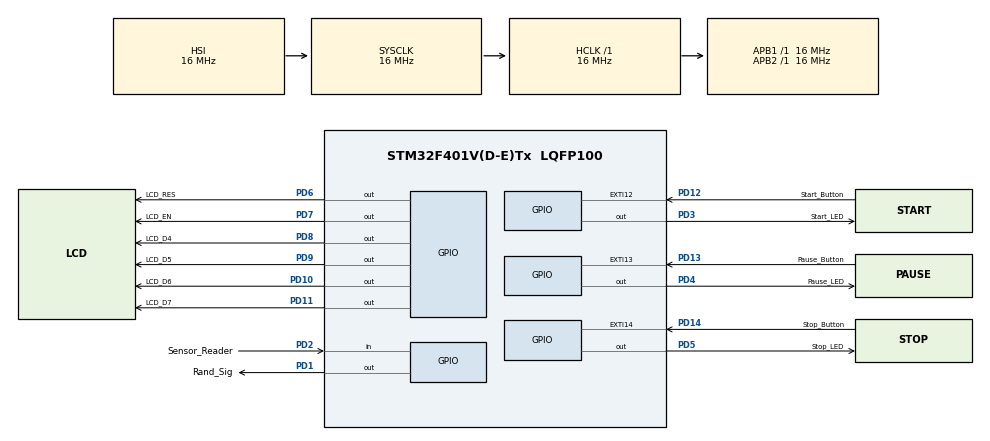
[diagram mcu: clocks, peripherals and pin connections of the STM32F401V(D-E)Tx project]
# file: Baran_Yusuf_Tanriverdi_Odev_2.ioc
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Mcu.Family=STM32F4
Mcu.Name=STM32F401V(D-E)Tx
Mcu.Package=LQFP100
NVIC.EXTI15_10_IRQn=true\:1\:0\:true\:false\:true\:true\:true
NVIC.PriorityGroup=NVIC_PRIORITYGROUP_4
NVIC.TIM4_IRQn=true\:0\:0\:false\:false\:true\:true\:true
PD1.GPIO_Label=Rand_Sig
PD1.Signal=GPIO_Output
PD10.GPIO_Label=LCD_D6
PD10.Signal=GPIO_Output
PD11.GPIO_Label=LCD_D7
PD11.Signal=GPIO_Output
PD12.GPIO_Label=Start_Button
PD12.Signal=GPXTI12
PD13.GPIO_Label=Pause_Button
PD13.Signal=GPXTI13
PD14.GPIO_Label=Stop_Button
PD14.Signal=GPXTI14
PD2.GPIO_Label=Sensor_Reader
PD2.Signal=GPIO_Input
PD3.GPIO_Label=Start_LED
PD3.Signal=GPIO_Output
PD4.GPIO_Label=Pause_LED
PD4.Signal=GPIO_Output
PD5.GPIO_Label=Stop_LED
PD5.Signal=GPIO_Output
PD6.GPIO_Label=LCD_RES
PD6.Signal=GPIO_Output
PD7.GPIO_Label=LCD_EN
PD7.Signal=GPIO_Output
PD8.GPIO_Label=LCD_D4
PD8.Signal=GPIO_Output
PD9.GPIO_Label=LCD_D5
PD9.Signal=GPIO_Output
ProjectManager.HeapSize=0x200
ProjectManager.StackSize=0x400
ProjectManager.TargetToolchain=STM32CubeIDE
RCC.AHBFreq_Value=16000000
RCC.APB1Freq_Value=16000000
RCC.APB2Freq_Value=16000000
RCC.CortexFreq_Value=16000000
RCC.HSE_VALUE=25000000
RCC.HSI_VALUE=16000000
RCC.LSE_VALUE=32768
RCC.SYSCLKFreq_VALUE=16000000
RCC.VCOOutputFreq_Value=192000000
TIM4.Period=100-1
TIM4.Prescaler=16000-1
VP_TIM4_VS_ClockSourceINT.Mode=Internal
board=custom

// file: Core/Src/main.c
/* USER CODE BEGIN Header */
/**
  ******************************************************************************
  * @file           : main.c
  * @brief          : Main program body
  ******************************************************************************
  * @attention
  *
  * <h2><center>&copy; Copyright (c) 2021 STMicroelectronics.
  * All rights reserved.</center></h2>
  *
  * This software component is licensed by ST under BSD 3-Clause license,
  * the "License"; You may not use this file except in compliance with the
  * License. You may obtain a copy of the License at:
  *                        opensource.org/licenses/BSD-3-Clause
  *
  ******************************************************************************
  */
/* USER CODE END Header */
#include "main.h"

/* USER CODE BEGIN Includes */
#include "LCD.h"
#include "stdlib.h"
#include "time.h"
#include <stdio.h>
#include <string.h>
/* USER CODE END Includes */

TIM_HandleTypeDef htim4;

/* USER CODE BEGIN PV */
char mesaj[16] = " "; //ilk satirdaki mesaj
char mesaj_2[16] = " "; //ikinci satirdaki mesaj
int selection = 0; //interrup secim sayaci
int decade=0; //10'luk sayicinin tutuldugu kisim
int counter_human=0;	//sayici
int temp_counter=0; //gecici sayicinin kaydedildigi yer
int temp_decade=0;	//gecici 10'luk sayicinin kaydedildigi yer
int temp=0;			//toplam sayi
int ms_bolum = 0; // ms_bolum = 1/milisecond => asagida acikladim
/* USER CODE END PV */

void SystemClock_Config(void);
static void MX_GPIO_Init(void);
static void MX_TIM4_Init(void);

/* USER CODE BEGIN 0 */
void LED_Toggle(void)
{
	/*
	 * Bu fonksiyon timer-2 counter 100'e (ARR) ulastiginda gittigi TIM2 interruptinin
	 * icindeki fonksiyondur.
	 * 2 amac icin calisir;
	 * ilk amaci; kesmeden basilan buton ogrenildiginde ona uygun bir sekilde led'leri toggle eder
	 * ikinci olarak da delay icin gerekli olan degiskeni 100ms'de bir arttirir
	 */
	if(selection == 1)
	{
		HAL_GPIO_WritePin(Pause_LED_GPIO_Port, Pause_LED_Pin, GPIO_PIN_RESET);
		HAL_GPIO_WritePin(Stop_LED_GPIO_Port, Stop_LED_Pin, GPIO_PIN_RESET);
		HAL_GPIO_TogglePin(Start_LED_GPIO_Port, Start_LED_Pin);
	}
	if(selection == 2)
	{
		HAL_GPIO_WritePin(Start_LED_GPIO_Port, Start_LED_Pin, GPIO_PIN_RESET);
		HAL_GPIO_WritePin(Stop_LED_GPIO_Port, Stop_LED_Pin, GPIO_PIN_RESET);
		HAL_GPIO_TogglePin(Pause_LED_GPIO_Port, Pause_LED_Pin);
	}
	if(selection == 3)
	{
		HAL_GPIO_WritePin(Pause_LED_GPIO_Port, Pause_LED_Pin, GPIO_PIN_RESET);
		HAL_GPIO_WritePin(Start_LED_GPIO_Port, Start_LED_Pin, GPIO_PIN_RESET);
		HAL_GPIO_TogglePin(Stop_LED_GPIO_Port, Stop_LED_Pin);
	}
	ms_bolum++;
}
void delay_ms(int x)
{
	/*100'le carpmamin nedeni; her 100ms de a bir arttigi icin
	 * ms_bolum = 1/(100 milisecond) diyebiliriz dolayisiyla 100*ms_bolum = 1 milisaniye olur
	 */
	while(100*ms_bolum < x)
	{
	}
	ms_bolum= 0;
}
void Random_Toggle(void)
{
	int x=100+(rand()%401); //100-500 ms arasi gecikme icin uretilen degisken
	HAL_GPIO_WritePin(Rand_Sig_GPIO_Port, Rand_Sig_Pin,GPIO_PIN_SET);
	delay_ms(x);
	HAL_GPIO_WritePin(Rand_Sig_GPIO_Port, Rand_Sig_Pin,GPIO_PIN_RESET);
	x=100+(rand()%401);
	delay_ms(x);
}
void HAL_GPIO_EXTI_Callback(uint16_t GPIO_Pin)
{
	/*
	 * Burada butonlardan hangisi basildiysa sistem ona göre bir selection degeri atar
	 * ve lcd temizlemelerini saglar
	 */
	if(GPIO_Pin==Start_Button_Pin)
	{
		selection=1;
		temp=0;
		lcd_clear();
		delay_ms(20);
	}
	else if(GPIO_Pin==Pause_Button_Pin)
	{
		selection=2;
		lcd_clear();
		delay_ms(20);
	}
	else if(GPIO_Pin==Stop_Button_Pin)
	{
		selection=3;
		counter_human=0;
		decade=0;
		lcd_clear();
		delay_ms(20);
	}
}
/* USER CODE END 0 */

int main(void)
{

  /* MCU Configuration--------------------------------------------------------*/

  /* Reset of all peripherals, Initializes the Flash interface and the Systick. */
  HAL_Init();

  /* Configure the system clock */
  SystemClock_Config();

  /* Initialize all configured peripherals */
  MX_GPIO_Init();
  MX_TIM4_Init();
  /* USER CODE BEGIN 2 */
  lcd_init(_LCD_4BIT, _LCD_FONT_5x8, _LCD_2LINE); //LCD baslangic ayarlari
  HAL_TIM_Base_Start_IT(&htim4); //TIM2 interrupt sayaci baslatma
  delay_ms(200);
  lcd_clear();
  lcd_print(1, 1, "Baran Tanriverdi");
  lcd_print(2, 1, "Turnike Uygulama");
  delay_ms(500);
  lcd_clear();
  lcd_print(1, 1, "Baslata Basiniz");
  delay_ms(100);
  /* USER CODE END 2 */

  /* Infinite loop */
  /* USER CODE BEGIN WHILE */
  while (1)
  {
	  /*
	   * Burada EXTI kesmesinden elde edilen selection degerleri istenilen durumlar icin kullanilir
	   * selection = 1 ise, sistem sensor'u okuyarak sensorun SET ve RESET degerlerine gore sayiciyi arttirir ve 10'luk sayici ve normal sayiciyi yazdirir.
	   * selection = 2 ise, sistem bir okuma yapmaz sadece halihazirda olan degerleri yazdirir.
	   * selection = 3 ise, sistem toplam sayiyi yazdirir
	   */
	  if(selection ==1)
	  	{
	  		Random_Toggle();
	  		if(HAL_GPIO_ReadPin(Sensor_Reader_GPIO_Port, Sensor_Reader_Pin)!= GPIO_PIN_SET)
	  		{
	  			counter_human++;
	  			if(counter_human >= 5){
	  				decade++;
	  				counter_human=0;
	  			}
	  		}
	  		sprintf(mesaj, "Yolcu Sayisi: %d", decade);
	  		lcd_print(1, 1, mesaj);
	  		sprintf(mesaj_2, "Counter:%d", counter_human);
	  		temp_counter=counter_human;
	  		temp_decade= decade;
	  		temp= 5*temp_decade + temp_counter;
	  		lcd_print(2, 1, mesaj_2);
	  		delay_ms(100);
	  	}
	  	else if(selection ==2)
	  	{
	  		sprintf(mesaj, "Yolcu Sayisi: %d", decade);
	  		lcd_print(1, 1, mesaj);
	  		sprintf(mesaj_2, "Counter:%d", counter_human);
	  		lcd_print(2, 1, mesaj_2);
	  		delay_ms(100);
	  	}
	  	else if(selection ==3)
	  	{
	  		sprintf(mesaj, "Yolcu Sayisi:%d", temp);
	  		lcd_print(1, 1, mesaj);
	  		delay_ms(100);
	  	}
    /* USER CODE END WHILE */

  }
}

void SystemClock_Config(void)
{
  RCC_OscInitTypeDef RCC_OscInitStruct = {0};
  RCC_ClkInitTypeDef RCC_ClkInitStruct = {0};

  /** Configure the main internal regulator output voltage
  */
  __HAL_RCC_PWR_CLK_ENABLE();
  __HAL_PWR_VOLTAGESCALING_CONFIG(PWR_REGULATOR_VOLTAGE_SCALE2);
  /** Initializes the RCC Oscillators according to the specified parameters
  * in the RCC_OscInitTypeDef structure.
  */
  RCC_OscInitStruct.OscillatorType = RCC_OSCILLATORTYPE_HSI;
  RCC_OscInitStruct.HSIState = RCC_HSI_ON;
  RCC_OscInitStruct.HSICalibrationValue = RCC_HSICALIBRATION_DEFAULT;
  RCC_OscInitStruct.PLL.PLLState = RCC_PLL_NONE;
  if (HAL_RCC_OscConfig(&RCC_OscInitStruct) != HAL_OK)
  {
    Error_Handler();
  }
  /** Initializes the CPU, AHB and APB buses clocks
  */
  RCC_ClkInitStruct.ClockType = RCC_CLOCKTYPE_HCLK|RCC_CLOCKTYPE_SYSCLK
                              |RCC_CLOCKTYPE_PCLK1|RCC_CLOCKTYPE_PCLK2;
  RCC_ClkInitStruct.SYSCLKSource = RCC_SYSCLKSOURCE_HSI;
  RCC_ClkInitStruct.AHBCLKDivider = RCC_SYSCLK_DIV1;
  RCC_ClkInitStruct.APB1CLKDivider = RCC_HCLK_DIV1;
  RCC_ClkInitStruct.APB2CLKDivider = RCC_HCLK_DIV1;

  if (HAL_RCC_ClockConfig(&RCC_ClkInitStruct, FLASH_LATENCY_0) != HAL_OK)
  {
    Error_Handler();
  }
}

static void MX_TIM4_Init(void)
{

  TIM_ClockConfigTypeDef sClockSourceConfig = {0};
  TIM_MasterConfigTypeDef sMasterConfig = {0};

  htim4.Instance = TIM4;
  htim4.Init.Prescaler = 16000-1;
  htim4.Init.CounterMode = TIM_COUNTERMODE_UP;
  htim4.Init.Period = 100-1;
  htim4.Init.ClockDivision = TIM_CLOCKDIVISION_DIV1;
  htim4.Init.AutoReloadPreload = TIM_AUTORELOAD_PRELOAD_DISABLE;
  if (HAL_TIM_Base_Init(&htim4) != HAL_OK)
  {
    Error_Handler();
  }
  sClockSourceConfig.ClockSource = TIM_CLOCKSOURCE_INTERNAL;
  if (HAL_TIM_ConfigClockSource(&htim4, &sClockSourceConfig) != HAL_OK)
  {
    Error_Handler();
  }
  sMasterConfig.MasterOutputTrigger = TIM_TRGO_RESET;
  sMasterConfig.MasterSlaveMode = TIM_MASTERSLAVEMODE_DISABLE;
  if (HAL_TIMEx_MasterConfigSynchronization(&htim4, &sMasterConfig) != HAL_OK)
  {
    Error_Handler();
  }

}

static void MX_GPIO_Init(void)
{
  GPIO_InitTypeDef GPIO_InitStruct = {0};

  /* GPIO Ports Clock Enable */
  __HAL_RCC_GPIOD_CLK_ENABLE();

  /*Configure GPIO pin Output Level */
  HAL_GPIO_WritePin(GPIOD, LCD_D4_Pin|LCD_D5_Pin|LCD_D6_Pin|LCD_D7_Pin
                          |Rand_Sig_Pin|Start_LED_Pin|Pause_LED_Pin|Stop_LED_Pin
                          |LCD_RES_Pin|LCD_EN_Pin, GPIO_PIN_RESET);

  /*Configure GPIO pins : LCD_D4_Pin LCD_D5_Pin LCD_D6_Pin LCD_D7_Pin
                           Rand_Sig_Pin Start_LED_Pin Pause_LED_Pin Stop_LED_Pin
                           LCD_RES_Pin LCD_EN_Pin */
  GPIO_InitStruct.Pin = LCD_D4_Pin|LCD_D5_Pin|LCD_D6_Pin|LCD_D7_Pin
                          |Rand_Sig_Pin|Start_LED_Pin|Pause_LED_Pin|Stop_LED_Pin
                          |LCD_RES_Pin|LCD_EN_Pin;
  GPIO_InitStruct.Mode = GPIO_MODE_OUTPUT_PP;
  GPIO_InitStruct.Pull = GPIO_NOPULL;
  GPIO_InitStruct.Speed = GPIO_SPEED_FREQ_LOW;
  HAL_GPIO_Init(GPIOD, &GPIO_InitStruct);

  /*Configure GPIO pins : Start_Button_Pin Pause_Button_Pin Stop_Button_Pin */
  GPIO_InitStruct.Pin = Start_Button_Pin|Pause_Button_Pin|Stop_Button_Pin;
  GPIO_InitStruct.Mode = GPIO_MODE_IT_RISING;
  GPIO_InitStruct.Pull = GPIO_NOPULL;
  HAL_GPIO_Init(GPIOD, &GPIO_InitStruct);

  /*Configure GPIO pin : Sensor_Reader_Pin */
  GPIO_InitStruct.Pin = Sensor_Reader_Pin;
  GPIO_InitStruct.Mode = GPIO_MODE_INPUT;
  GPIO_InitStruct.Pull = GPIO_NOPULL;
  HAL_GPIO_Init(Sensor_Reader_GPIO_Port, &GPIO_InitStruct);

  /* EXTI interrupt init*/
  HAL_NVIC_SetPriority(EXTI15_10_IRQn, 1, 0);
  HAL_NVIC_EnableIRQ(EXTI15_10_IRQn);

}

void Error_Handler(void)
{
  __disable_irq();
  while (1)
  {
  }
}

/************************ (C) COPYRIGHT STMicroelectronics *****END OF FILE****/
